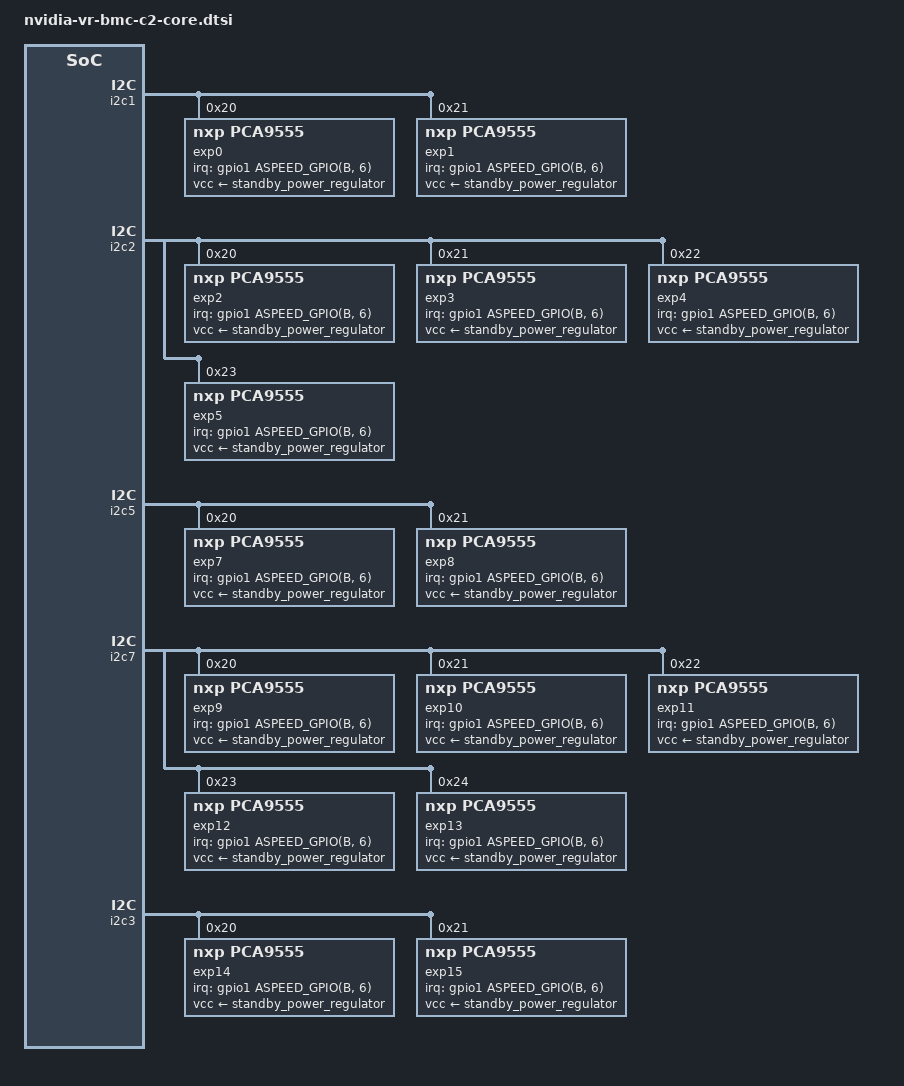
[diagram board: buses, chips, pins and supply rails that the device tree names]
// SPDX-License-Identifier: GPL-2.0+
/dts-v1/;

#include "aspeed-g6.dtsi"
#include <dt-bindings/gpio/aspeed-gpio.h>

&gpio0 {
    gpio-line-names =

    /* gpio-line-names are the combination of <signal>-<I/O> , "" is the placeholder for the unused pins*/

    /* 208 (26*8) 3.3V GPIOs */

    /*A0-A7*/
    "", "", "", "", "", "", "", "",

    /*B0-B7*/
    "", "", "", "", "", "", "", "",

    /*C0-C7*/
    "SGPIO_I2C_MUX_SEL-O",
    "", "", "", "", "", "", "",

    /*D0-D7*/
    "", "", "",
    "UART1_MUX_SEL-O",
    "",
    "FPGA_PEX_RST_L-O",
    "", "",

    /*E0-E7*/
    "RTL8221_PHY_RST_L-O",
    "RTL8211_PHY_INT_L-I",
    "",
    "UART3_MUX_SEL-O",
    "", "", "",
    "SGPIO_BMC_EN-O",

    /*F0-F7*/
    "", "", "", "", "", "", "", "",

    /*G0-G7*/
    "", "", "", "", "", "", "", "",

    /*H0-H7*/
    "", "", "", "", "", "", "", "",

    /*I0-I7*/
    "", "", "", "", "",
    "QSPI2_RST_L-O",
    "GLOBAL_WP_BMC-O",
    "BMC_DDR4_TEN-O",

    /*J0-J7*/
    "", "", "", "", "", "", "", "",

    /*K0-K7*/
    "", "", "", "", "", "", "", "",

    /*L0-L7*/
    "", "", "", "", "", "", "", "",

    /*M0-M7*/
    "PCIE_EP_RST_EN-O",
    "BMC_FRU_WP-O",
    "HMC_RESET_L-O",
    "STBY_POWER_EN-O",
    "STBY_POWER_PG-I",
    "PCIE_EP_RST_L-O",
    "", "",

    /*N0-N7*/
    "", "", "", "", "", "", "", "",

    /*O0-O7*/
    "", "", "", "", "", "", "", "",

    /*P0-P7*/
    "", "", "", "", "", "", "", "",

    /*Q0-Q7*/
    "", "", "", "", "", "", "", "",

    /*R0-R7*/
    "", "", "", "", "", "", "", "",

    /*S0-S7*/
    "", "", "", "", "", "", "", "",

    /*T0-T7*/
    "", "", "", "", "", "", "", "",

    /*U0-U7*/
    "", "", "", "", "", "", "", "",

    /*V0-V7*/
    "AP_EROT_REQ-O",
    "EROT_AP_GNT-I",
    "",
    "",
    "PCB_TEMP_ALERT-I",
    "", "", "",

    /*W0-W7*/
    "", "", "", "", "", "", "", "",

    /*X0-X7*/
    "", "",
    "TPM_MUX_SEL-O",
    "", "", "", "", "",

    /*Y0-Y7*/
    "", "", "",
    "EMMC_RST-O",
    "","", "", "",

    /*Z0-Z7*/
    "","", "", "", "", "", "", "";
};

// I2C2 GPIO Expander
&i2c1 {
    // MGMT1 BOARD0, Expander @0x20
    exp0: pca9555@20 {
        compatible = "nxp,pca9555";
        reg = <0x20>;
        gpio-controller;
        #gpio-cells = <2>;

        #address-cells = <1>;
        #size-cells = <0>;
        interrupt-controller;
        #interrupt-cells = <2>;
        interrupt-parent = <&gpio1>;
        interrupts = <ASPEED_GPIO(B, 6) IRQ_TYPE_LEVEL_LOW>;
        vcc-supply = <&standby_power_regulator>;
        startup-delay-ms = <2000>;
        gpio-line-names =
            "B0_M1_MCU_RESET_L-O",
            "B0_M1_MCU_RECOVERY_L-O",
            "B0_M1_SNN_GPU0_MCU_RESET_L",
            "B0_M1_SNN_GPU0_MCU_REC_L",
            "B0_M1_THERM_OVERT_L-I",
            "B0_M1_THERM_WARN_L-I",
            "B0_M1_HMC_IST_PRE_RST_L-O",
            "B0_M1_CPLD_READY-I",
            "B0_M1_MODULE_PWR_GOOD-I",
            "B0_M1_MCU_HMC_ALERT_L-I",
            "B0_M1_USB1_HUB_RST_L-O",
            "B0_M1_HPM_MCU_OK-I",
            "B0_M1_CPU_SHDN_OK_L_3V3-I",
            "B0_M1_SNN_BOARD_LOC_STRAP",
            "B0_M1_IST_SYS_RST_L-O",
            "B0_M1_PWR_BRAKE_L_STATUS-I";
    };

    // MGMT1 BOARD0, Expander @0x21
    exp1: pca9555@21 {
        compatible = "nxp,pca9555";
        reg = <0x21>;
        gpio-controller;
        #gpio-cells = <2>;

        #address-cells = <1>;
        #size-cells = <0>;
        interrupt-controller;
        #interrupt-cells = <2>;
        interrupt-parent = <&gpio1>;
        interrupts = <ASPEED_GPIO(B, 6) IRQ_TYPE_LEVEL_LOW>;
        vcc-supply = <&standby_power_regulator>;
        startup-delay-ms = <2000>;
        gpio-line-names =
            "B0_M1_CPU_FORCED_RECOVERY_L-O",
            "B0_M1_CPU_BOOT_DEV_SEL0-O",
            "B0_M1_CPU_BOOT_DEV_SEL1-O",
            "B0_M1_CPU_BOOT_DEV_SEL2-O",
            "B0_M1_HMC_BRD_ID0",
            "B0_M1_CPU_RECOVERY_TYPE0-O",
            "B0_M1_CPU_RECOVERY_TYPE1-O",
            "B0_M1_CPU_IST_BOOT_HMC-O",
            "B0_M1_CPU_BOOT_CHAIN0-O",
            "B0_M1_HMC_BRD_ID1",
            "B0_M1_HMC_BRD_ID2",
            "B0_M1_CPU_DIE_SEL0-O",
            "B0_M1_CPU_DIE_SEL1-O",
            "B0_M1_CPU_DIE_SEL2-O",
            "B0_M1_CPU_BOOT_COMPLETE-O",
            "B0_M1_IOX_JTAG_NVSEL-O";
    };
};


// I2C3 GPIO Expander
&i2c2 {
    // MGMT0 BOARD0, Expander @0x20
    exp2: pca9555@20 {
        compatible = "nxp,pca9555";
        reg = <0x20>;
        gpio-controller;
        #gpio-cells = <2>;

        #address-cells = <1>;
        #size-cells = <0>;
        interrupt-controller;
        #interrupt-cells = <2>;
        interrupt-parent = <&gpio1>;
        interrupts = <ASPEED_GPIO(B, 6) IRQ_TYPE_LEVEL_LOW>;
        vcc-supply = <&standby_power_regulator>;

        gpio-line-names =
            "B0_M0_SHDN_FORCE_L-O",
            "B0_M0_STBY_PWR_PG-I",
            "B0_M0_THERM_OVERT_L-I",
            "B0_M0_THERM_WARN_L-I",
            "B0_M0_GLOBAL_WP-O",
            "B0_M0_USB0_HUB_RST_L-O",
            "B0_M0_IOX_PRE_SYS_RST_N-O",
            "B0_M0_LEAK_DETECT_ALERT_L-I",
            "B0_M0_RUN_PWR_EN-O",
            "B0_M0_MODULE_PWR_GOOD-I",
            "B0_M0_CPU_CHIPTHROT_L_3V3-I",
            "B0_M0_SHDN_REQ_L_3V3-O",
            "B0_M0_CPU_SHDN_OK_L_3V3-I",
            "B0_M0_CPLD_READY-I",
            "B0_M0_PWR_BRAKE_L_3V3-O",
            "B0_M0_PWR_BRAKE_L_STATUS-I";
    };

    // MGMT0 BOARD0, Expander @0x21
    exp3: pca9555@21 {
        compatible = "nxp,pca9555";
        reg = <0x21>;
        gpio-controller;
        #gpio-cells = <2>;

        #address-cells = <1>;
        #size-cells = <0>;
        interrupt-controller;
        #interrupt-cells = <2>;
        interrupt-parent = <&gpio1>;
        interrupts = <ASPEED_GPIO(B, 6) IRQ_TYPE_LEVEL_LOW>;
        vcc-supply = <&standby_power_regulator>;

        gpio-line-names =
            "B0_M0_I2C_BUS_MUX_RST_L-O",
            "B0_M0_HPM_MCU_OK-I",
            "B0_M0_RSVD_AIC_USB_EN",
            "B0_M0_C0_SOCAMM_DAC_I2C_SEL_R-O",
            "B0_M0_C1_SOCAMM_DAC_I2C_SEL_R-O",
            "B0_M0_C0_SOCAMM_I2C_SEL-O",
            "B0_M0_C1_SOCAMM_I2C_SEL-O",
            "B0_M0_EEPROM_POWER_DISABLE-O",
            "B0_M0_CPU_L0L1_RST_L_3V3-I",
            "B0_M0_CPU_L2_RST_L_3V3-I",
            "B0_M0_BRD_ID_0",
            "B0_M0_BRD_ID_1",
            "B0_M0_BMC_LEAK_TEST_L-O",
            "B0_M0_MCU_BMC_ALERT_L-I",
            "B0_M0_CPU_BOOT_COMPLETE_3V3-I",
            "B0_M0_BRD_ID_2";
    };

    // MGMT0 BOARD0, Expander @0x22
    exp4: pca9555@22 {
        compatible = "nxp,pca9555";
        reg = <0x22>;
        gpio-controller;
        #gpio-cells = <2>;

        #address-cells = <1>;
        #size-cells = <0>;
        interrupt-controller;
        #interrupt-cells = <2>;
        interrupt-parent = <&gpio1>;
        interrupts = <ASPEED_GPIO(B, 6) IRQ_TYPE_LEVEL_LOW>;
        vcc-supply = <&standby_power_regulator>;
        gpio-line-names =
            "B0_M0_C0_UPHY0_PRSNT0_L-I",
            "B0_M0_C0_UPHY0_PRSNT1_L-I",
            "B0_M0_C0_UPHY0_PRSNT2_L-I",
            "B0_M0_C0_UPHY0_PRSNT3_L-I",
            "B0_M0_C0_UPHY1_PRSNT0_L-I",
            "B0_M0_C0_UPHY1_PRSNT1_L-I",
            "B0_M0_RSVD_C0_UPHY1_PRSNT2_L",
            "B0_M0_RSVD_C0_UPHY1_PRSNT3_L",
            "B0_M0_C0_UPHY2_PRSNT0_L-I",
            "B0_M0_C0_UPHY2_PRSNT1_L-I",
            "B0_M0_C0_UPHY2_PRSNT2_L-I",
            "B0_M0_C0_UPHY2_PRSNT3_L-I",
            "B0_M0_C0_UPHY3_PRSNT0_L-I",
            "B0_M0_C0_UPHY3_PRSNT1_L-I",
            "B0_M0_RSVD_C0_UPHY3_PRSNT2_L",
            "B0_M0_RSVD_C0_UPHY3_PRSNT3_L";
    };

    // MGMT0 BOARD0, Expander @0x23
    exp5: pca9555@23 {
        compatible = "nxp,pca9555";
        reg = <0x23>;
        gpio-controller;
        #gpio-cells = <2>;

        #address-cells = <1>;
        #size-cells = <0>;
        interrupt-controller;
        #interrupt-cells = <2>;
        interrupt-parent = <&gpio1>;
        interrupts = <ASPEED_GPIO(B, 6) IRQ_TYPE_LEVEL_LOW>;
        vcc-supply = <&standby_power_regulator>;
        gpio-line-names =
            "B0_M0_C1_UPHY0_PRSNT0_L-I",
            "B0_M0_C1_UPHY0_PRSNT1_L-I",
            "B0_M0_C1_UPHY0_PRSNT2_L-I",
            "B0_M0_C1_UPHY0_PRSNT3_L-I",
            "B0_M0_RSVD_C1_UPHY1_PRSNT0_L",
            "B0_M0_C1_UPHY1_PRSNT1_L-I",
            "B0_M0_RSVD_C1_UPHY1_PRSNT2_L",
            "B0_M0_RSVD_C1_UPHY1_PRSNT3_L",
            "B0_M0_C1_UPHY2_PRSNT0_L-I",
            "B0_M0_C1_UPHY2_PRSNT1_L-I",
            "B0_M0_C1_UPHY2_PRSNT2_L-I",
            "B0_M0_C1_UPHY2_PRSNT3_L-I",
            "B0_M0_C1_UPHY3_PRSNT0_L-I",
            "B0_M0_C1_UPHY3_PRSNT1_L-I",
            "B0_M0_RSVD_C1_UPHY3_PRSNT2_L",
            "B0_M0_RSVD_C1_UPHY3_PRSNT3_L";
    };
};

// I2C5 SMM Carrier GPIO Expander
&i2c5 {
    // SMM Carrier, Expander @0x20
    exp7: pca9555@20 {
        compatible = "nxp,pca9555";
        reg = <0x20>;
        gpio-controller;
        #gpio-cells = <2>;

        #address-cells = <1>;
        #size-cells = <0>;
        interrupt-controller;
        #interrupt-cells = <2>;
        interrupt-parent = <&gpio1>;
        interrupts = <ASPEED_GPIO(B, 6) IRQ_TYPE_LEVEL_LOW>;
        vcc-supply = <&standby_power_regulator>;
        gpio-line-names =
            "HMC_RST_R_L-O",
            "HMC_RECOVERY_R-O",
            "HMC_SPI_MUX_R_SEL-O",
            "GLOBAL_WP-O",
            "HMC_READY-I",
            "HMC_PRSNT_R-I",
            "BMC_SELF_PWR_CYCLE-O",
            "EEDO_LED2-O",
            "PWR_LED_L-O",
            "PWR_BTN_L-I",
            "UID_LED_L-O",
            "UID_BTN_L-I",
            "FAULT_LED_L-O",
            "USB2_HUB_RST_L-O",
            "IOX_GPIO_P16_TP",
            "WARN_LED_L-O";
    };

    // SMM Carrier, Expander @0x21
    exp8: pca9555@21 {
        compatible = "nxp,pca9555";
        reg = <0x21>;
        gpio-controller;
        #gpio-cells = <2>;

        #address-cells = <1>;
        #size-cells = <0>;
        interrupt-controller;
        #interrupt-cells = <2>;
        interrupt-parent = <&gpio1>;
        interrupts = <ASPEED_GPIO(B, 6) IRQ_TYPE_LEVEL_LOW>;
        vcc-supply = <&standby_power_regulator>;
        gpio-line-names =
            "BMC_HMC_MUX_SEL-O",
            "BMC_TPM_MUX_SEL-O",
            "BMC_USB2_MUX_SEL-O",
            "HMC_PGOOD_3V3-I",
            "BF3_AOC_NCSI_PRSNT_L-I",
            "HDR_SPI_PRSNT_L-I",
            "SW_NRESET_R_L-O",
            "MUX_I2C_ESPI_SEL-O",
            "I2C_BUS_MUX_RESET_L-O",
            "USB_MUX_EN-O",
            "PDB_TRAY_RST-O",
            "USB_PWR_EN-O",
            "RTC_CLR_L-O",
            "I2C_RTC_ALERT_L-I",
            "I2C_PDB_ALERT_L-I",
            "BMC_MUX_PI3DP_SEL-O";
    };
};

// I2C8 GPIO Expander
&i2c7 {
    // MGMT0 BOARD1, Expander @0x20
    exp9: pca9555@20 {
        compatible = "nxp,pca9555";
        reg = <0x20>;
        gpio-controller;
        #gpio-cells = <2>;

        #address-cells = <1>;
        #size-cells = <0>;
        interrupt-controller;
        #interrupt-cells = <2>;
        interrupt-parent = <&gpio1>;
        interrupts = <ASPEED_GPIO(B, 6) IRQ_TYPE_LEVEL_LOW>;
        vcc-supply = <&standby_power_regulator>;
        gpio-line-names =
            "B1_M0_I2C_MCIO_MUX_RESET_L-O",
            "B1_M0_SLOT_PWR_BRAKE_L-O",
            "B1_M0_SOCAMM_SPD_WP-O",
            "B1_M0_SOCAMM_UNLOCK_1V8-O",
            "B1_M0_SNN_C1_SOCAMM_UNLOCK_BMC",
            "B1_M0_C0_SOCAMM_I2C_SEL_R-O",
            "B1_M0_SNN_C1_SOCAMM_I2C_SEL_R",
            "B1_M0_CPU_IST_MODE_EN-O",
            "B1_M0_L0L1_RST_L-O",
            "B1_M0_L2_RST_L-O",
            "B1_M0_SNN_FAN_BRD_PRSNT_L",
            "B1_M0_SNN_FAN_FAIL_L",
            "B1_M0_SNN_IST_BOOT_MODE0",
            "B1_M0_BMC_SSIF_ALERT_L-I",
            "B1_M0_SHDN_FORCE_L-O",
            "B1_M0_PEX_WAKE_L-O";
    };

    // MGMT0 BOARD1, Expander @0x21
    exp10: pca9555@21 {
        compatible = "nxp,pca9555";
        reg = <0x21>;
        gpio-controller;
        #gpio-cells = <2>;

        #address-cells = <1>;
        #size-cells = <0>;
        interrupt-controller;
        #interrupt-cells = <2>;
        interrupt-parent = <&gpio1>;
        interrupts = <ASPEED_GPIO(B, 6) IRQ_TYPE_LEVEL_LOW>;
        vcc-supply = <&standby_power_regulator>;
        gpio-line-names =
            "B1_M0_PS_3V3_STBY_EN-O",
            "B1_M0_PS_1V8_STBY_PGOOD-I",
            "B1_M0_THERM_OVERT_L-I",
            "B1_M0_THERM_WARN_L-I",
            "B1_M0_GLOBAL_WP_MCU-O",
            "B1_M0_USB_HUB0_RST_L-O",
            "B1_M0_PRE_SYS_RST_IOX_L-O",
            "B1_M0_SNN_LEAK_DETECT_ALERT_L",
            "B1_M0_IOX_RUN_POWER_EN-O",
            "B1_M0_IOX_RUN_POWER_PG-I",
            "B1_M0_C0_CHIPTHROT_L-O",
            "B1_M0_GP01_SHDN_REQ_L-O",
            "B1_M0_CPU0_SHDN_OK_L-I",
            "B1_M0_SNN_CPU1_SHDN_OK_L",
            "B1_M0_PWR_BRAKE_IOX_L-O",
            "B1_M0_PDB_PWR_BRAKE_L";
    };

    // extra IOX for E5010
    exp11: pca9555@22 {
        compatible = "nxp,pca9555";
        reg = <0x22>;
        gpio-controller;
        #gpio-cells = <2>;

        #address-cells = <1>;
        #size-cells = <0>;
        interrupt-controller;
        #interrupt-cells = <2>;
        interrupt-parent = <&gpio1>;
        interrupts = <ASPEED_GPIO(B, 6) IRQ_TYPE_LEVEL_LOW>;
        vcc-supply = <&standby_power_regulator>;
        gpio-line-names =
            "B1_M0_C0_UART0_MUX_SEL0-O",
            "B1_M0_C0_UART0_MUX_SEL1-O",
            "B1_M0_C0_UART1_MUX_SEL0-O",
            "B1_M0_C0_UART1_MUX_SEL1-O",
            "B1_M0_QSPI_LB_EN-O",
            "B1_M0_QSPI_LB_MUX_SEL-O",
            "B1_M0_QSPI0_MUX_EN-O",
            "B1_M0_SNN_IOX0_P8",
            "B1_M0_SNN_IOX0_P10",
            "B1_M0_I2C1_2_MUX_SEL-O",
            "B1_M0_I2C3_4_MUX_SEL-O",
            "B1_M0_IXC0_MUX_SEL-O",
            "B1_M0_I2C_PU_MUX1_SEL0-O",
            "B1_M0_I2C_PU_MUX1_SEL1-O",
            "B1_M0_I2C_PU_MUX2_SEL0-O",
            "B1_M0_I2C_PU_MUX2_SEL1-O";
    };

    exp12: pca9555@23 {
        compatible = "nxp,pca9555";
        reg = <0x23>;
        gpio-controller;
        #gpio-cells = <2>;

        #address-cells = <1>;
        #size-cells = <0>;
        interrupt-controller;
        #interrupt-cells = <2>;
        interrupt-parent = <&gpio1>;
        interrupts = <ASPEED_GPIO(B, 6) IRQ_TYPE_LEVEL_LOW>;
        vcc-supply = <&standby_power_regulator>;
        gpio-line-names =
            "B1_M0_I2C1_MUX2_SEL0- O",
            "B1_M0_I2C1_MUX2_SEL1- O",
            "B1_M0_USB_MGMT0_MUX_SEL0-O",
            "B1_M0_MCU_CPU_CLOCK_EN-O",
            "B1_M0_QSPI1_MUX_EN-O",
            "B1_M0_QSPI1_MUX1_SEL-O",
            "B1_M0_USB2_P1_MUX_SEL-O",
            "B1_M0_USB_MGMT0_MUX_SEL1-O",
            "B1_M0_UPHY2_REFCLK_MUX_SEL-O",
            "B1_M0_UPHY0_REFCLK_MUX_SEL-O",
            "B1_M0_TPM_HDR_SPI_PRSNT_IOX_N-O",
            "B1_M0_UPHY3_REFCLK_MUX_SEL-O",
            "B1_M0_RTC_CLR_IOX_L-O",
            "B1_M0_HPM_SCM_INTRUSION_N-O",
            "B1_M0_SPI_HOST_TPM_RST_L-O",
            "B1_M0_MCIO012_VPP_MUX_SEL-O";
    };

    exp13: pca9555@24 {
        compatible = "nxp,pca9555";
        reg = <0x24>;
        gpio-controller;
        #gpio-cells = <2>;

        #address-cells = <1>;
        #size-cells = <0>;
        interrupt-controller;
        #interrupt-cells = <2>;
        interrupt-parent = <&gpio1>;
        interrupts = <ASPEED_GPIO(B, 6) IRQ_TYPE_LEVEL_LOW>;
        vcc-supply = <&standby_power_regulator>;    
        gpio-line-names =
            "B1_M0_I3C_MUX_SEL0-O",
            "B1_M0_I3C_MUX_SEL1-O",
            "B1_M0_SNN_IOX2_P3",
            "B1_M0_I2C_PU_MUX3_SEL0-O",
            "B1_M0_I2C_PU_MUX3_SEL1-O",
            "B1_M0_I2C_PU_MUX4_SEL0-O",
            "B1_M0_I2C_PU_MUX4_SEL1-O",
            "B1_M0_SNN_IOX2_P8",
            "B1_M0_SNN_IOX2_P10",
            "B1_M0_SNN_IOX2_P11",
            "B1_M0_SNN_IOX2_P12",
            "B1_M0_SNN_IOX2_P13",
            "B1_M0_SNN_IOX2_P14",
            "B1_M0_SNN_IOX2_P15",
            "B1_M0_SNN_IOX2_P16",
            "B1_M0_SNN_IOX2_P17";
    };
};

// I2C4 GPIO Expander
&i2c3 {
    // MGMT1 BOARD1, Expander @0x20
    exp14: pca9555@20 {
        compatible = "nxp,pca9555";
        reg = <0x20>;
        gpio-controller;
        #gpio-cells = <2>;

        #address-cells = <1>;
        #size-cells = <0>;
        interrupt-controller;
        #interrupt-cells = <2>;
        interrupt-parent = <&gpio1>;
        interrupts = <ASPEED_GPIO(B, 6) IRQ_TYPE_LEVEL_LOW>;
        vcc-supply = <&standby_power_regulator>;
        gpio-line-names =
            "B1_M1_MCU_RESET_L-O",
            "B1_M1_MCU_RECOVERY_L-O",
            "B1_M1_SNN_U98A_P3",
            "B1_M1_SNN_U98A_P4",
            "B1_M1_SNN_U98A_P5",
            "B1_M1_SNN_U98A_P6",
            "B1_M1_SNN_U98A_P7",
            "B1_M1_SNN_U98A_P8",
            "B1_M1_SNN_U98A_P10",
            "B1_M1_SNN_U98A_P11",
            "B1_M1_USB_HMC_HUB_RST_L-O",
            "B1_M1_HPM_MCU_OK-I",
            "B1_M1_SNN_IST_BOOT_MODE1",
            "B1_M1_IST_COMPLETE_L-I",
            "B1_M1_IST_SYS_RST_L-O",
            "B1_M1_HMC_PRESENT_L-O";
    };

    // MGMT1 BOARD1, Expander @0x21
    exp15: pca9555@21 {
        compatible = "nxp,pca9555";
        reg = <0x21>;
        gpio-controller;
        #gpio-cells = <2>;

        #address-cells = <1>;
        #size-cells = <0>;
        interrupt-controller;
        #interrupt-cells = <2>;
        interrupt-parent = <&gpio1>;
        interrupts = <ASPEED_GPIO(B, 6) IRQ_TYPE_LEVEL_LOW>;
        vcc-supply = <&standby_power_regulator>;
        gpio-line-names =
            "B1_M1_CPU_FORCED_RECOVERY_L-B",
            "B1_M1_CPU_BOOT_DEV_SEL0-B",
            "B1_M1_CPU_BOOT_DEV_SEL1-B",
            "B1_M1_CPU_BOOT_DEV_SEL2-B",
            "B1_M1_SNN_CPU_BOOT_DEV_SEL3",
            "B1_M1_CPU_RECOVERY_TYPE0-B",
            "B1_M1_CPU_RECOVERY_TYPE1-B",
            "B1_M1_CPU_IST_BOOT-B",
            "B1_M1_CPU_BOOT_CHAIN0-B",
            "B1_M1_SNN_CPU_BOOT_CHAIN1",
            "B1_M1_SNN_CPU_BOOT_CHAIN2",
            "B1_M1_CPU_DIE_SEL0-B",
            "B1_M1_CPU_DIE_SEL1-B",
            "B1_M1_CPU_DIE_SEL2-B",
            "B1_M1_CPU_BOOT_COMPLETE-B",
            "B1_M1_NVJTAG_SEL_S-B";
    };
};

// EMMC group that excludes WP pin
&pinctrl {
    pinctrl_emmcg5_default: emmcg5_default {
        function = "EMMC";
        groups = "EMMCG5";
    };
};

